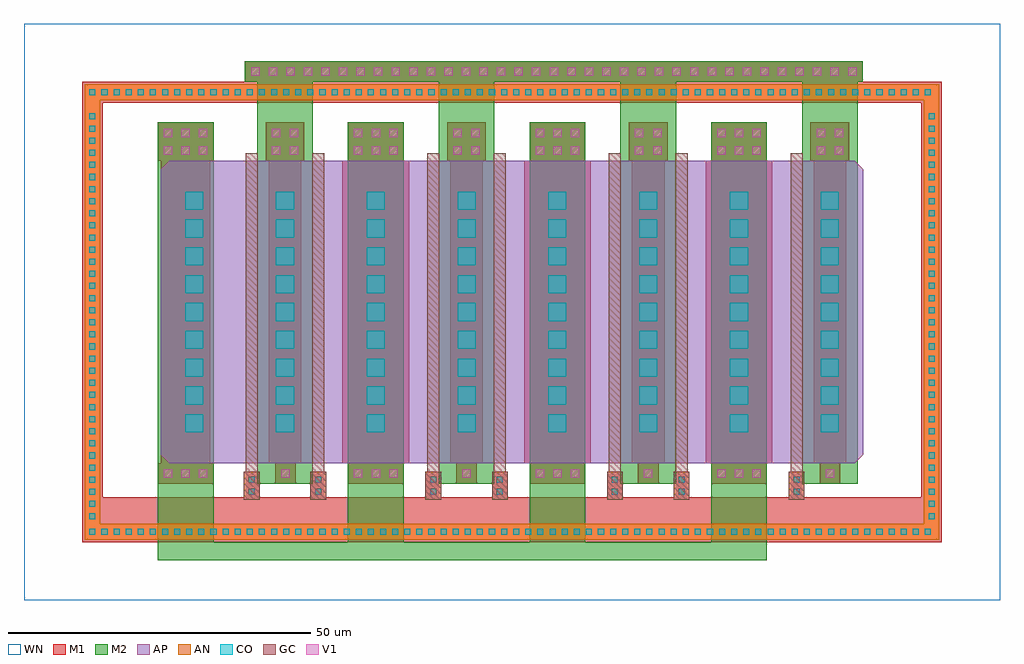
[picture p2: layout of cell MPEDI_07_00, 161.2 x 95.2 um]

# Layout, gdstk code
import gdstk
lib = gdstk.Library(unit=1e-6, precision=1e-09)
def R(c, l, rs):  # rectangles x0, y0, x1, y1
    for r in rs: c.add(gdstk.rectangle(r[:2], r[2:], *l))
def A(c, l, x, y, w, h, nx, ny, dx, dy):  # array of equal rectangles
    R(c, l, [(x+i*dx, y+j*dy, x+i*dx+w, y+j*dy+h) for i in range(nx) for j in range(ny)])
def P(c, l, *ps):  # polygons
    for p in ps: c.add(gdstk.Polygon(p, *l))
AP = (3, 1)
AN = (3, 2)
GC = (8, 1)
CO = (11, 0)
M1 = (13, 0)
V1 = (19, 0)
M2 = (20, 0)
WN = (140, 0)

wlmp_cdns_696587100783 = lib.new_cell('WLMP_CDNS_696587100783')
R(wlmp_cdns_696587100783, WN, [(1.5,1.5,162.7,96.7)])

tc14_cdns_696587100780 = lib.new_cell('TC14_CDNS_696587100780')
R(tc14_cdns_696587100780, M1, [(-51,-1.7,51,1.7)])
A(tc14_cdns_696587100780, V1, -50, -0.7, 1.4, 1.4, 35, 1, 2.9, 0)
R(tc14_cdns_696587100780, M2, [(-51,-1.7,51,1.7)])

sgct_cdns_696587100781 = lib.new_cell('SGCT_CDNS_696587100781')
R(sgct_cdns_696587100781, GC, [(-1.3,-2.3,1.3,2.3)])
R(sgct_cdns_696587100781, CO, [(-0.5,-1.5,0.5,-0.5), (-0.5,0.5,0.5,1.5)])
R(sgct_cdns_696587100781, M1, [(-1.3,-2.3,1.3,2.3)])

tc14_cdns_696587100782 = lib.new_cell('TC14_CDNS_696587100782')
R(tc14_cdns_696587100782, M1, [(-4.6,-1.7,4.6,1.7)])
A(tc14_cdns_696587100782, V1, -3.6, -0.7, 1.4, 1.4, 3, 1, 2.9, 0)
R(tc14_cdns_696587100782, M2, [(-4.6,-1.7,4.6,1.7)])

tc14_cdns_696587100783 = lib.new_cell('TC14_CDNS_696587100783')
R(tc14_cdns_696587100783, M1, [(-4.6,-3.1,4.6,3.2)])
A(tc14_cdns_696587100783, V1, -3.6, -2.1, 1.4, 1.4, 3, 2, 2.9, 2.9)
R(tc14_cdns_696587100783, M2, [(-4.6,-3.1,4.6,3.2)])

tc14_cdns_696587100784 = lib.new_cell('TC14_CDNS_696587100784')
R(tc14_cdns_696587100784, M1, [(-1.7,-3.1,1.7,3.2)])
R(tc14_cdns_696587100784, V1, [(-0.7,-2.1,0.7,-0.7), (-0.7,0.8,0.7,2.2)])
R(tc14_cdns_696587100784, M2, [(-1.7,-3.1,1.7,3.2)])

tc14_cdns_696587100785 = lib.new_cell('TC14_CDNS_696587100785')
R(tc14_cdns_696587100785, M1, [(-1.7,-1.7,1.7,1.7)])
R(tc14_cdns_696587100785, V1, [(-0.7,-0.7,0.7,0.7)])
R(tc14_cdns_696587100785, M2, [(-1.7,-1.7,1.7,1.7)])

mpedi_07_00 = lib.new_cell('MPEDI_07_00')
P(mpedi_07_00, AP, [(25.5,24.1),(24.1,25.5),(24.1,72.7),(25.5,74.1),(138.7,74.1),(140.1,72.7),(140.1,25.5),(138.7,24.1)])
P(mpedi_07_00, AN, [(11.5,11.5),(11.5,84.1),(14.1,84.1),(14.1,14.1),(150.1,14.1),(150.1,84.1),(11.5,84.1),(11.5,86.7),(152.7,86.7),(152.7,11.5)],
  [(11.5,11.5),(11.5,84.1),(14.1,84.1),(14.1,14.1),(150.1,14.1),(150.1,84.1),(11.5,84.1),(11.5,86.7),(152.7,86.7),(152.7,11.5)])
R(mpedi_07_00, GC, [(38.1,22.7,40.1,75.3), (49.1,22.7,51.1,75.3), (68.1,22.7,70.1,75.3), (79.1,22.7,81.1,75.3), (98.1,22.7,100.1,75.3), (109.1,22.7,111.1,75.3), (128.1,22.7,130.1,75.3)])
A(mpedi_07_00, CO, 12.3, 12.3, 1, 1, 70, 2, 2, 72.6)
A(mpedi_07_00, CO, 12.3, 14.9, 1, 1, 1, 34, 0, 2)
A(mpedi_07_00, CO, 150.9, 14.9, 1, 1, 1, 34, 0, 2)
A(mpedi_07_00, CO, 28.1, 29.2, 3, 3, 1, 9, 0, 4.6)
A(mpedi_07_00, CO, 133.1, 29.2, 3, 3, 1, 9, 0, 4.6)
R(mpedi_07_00, CO, [(43.1,29.2,46.1,32.2), (43.1,29.2,46.1,32.2), (58.1,29.2,61.1,32.2), (58.1,29.2,61.1,32.2), (73.1,29.2,76.1,32.2), (73.1,29.2,76.1,32.2), (88.1,29.2,91.1,32.2), (88.1,29.2,91.1,32.2), (103.1,29.2,106.1,32.2), (103.1,29.2,106.1,32.2), (118.1,29.2,121.1,32.2), (118.1,29.2,121.1,32.2), (43.1,33.8,46.1,36.8), (43.1,33.8,46.1,36.8), (58.1,33.8,61.1,36.8), (58.1,33.8,61.1,36.8), (73.1,33.8,76.1,36.8), (73.1,33.8,76.1,36.8), (88.1,33.8,91.1,36.8), (88.1,33.8,91.1,36.8), (103.1,33.8,106.1,36.8), (103.1,33.8,106.1,36.8), (118.1,33.8,121.1,36.8), (118.1,33.8,121.1,36.8), (43.1,38.4,46.1,41.4), (43.1,38.4,46.1,41.4), (58.1,38.4,61.1,41.4), (58.1,38.4,61.1,41.4), (73.1,38.4,76.1,41.4), (73.1,38.4,76.1,41.4), (88.1,38.4,91.1,41.4), (88.1,38.4,91.1,41.4), (103.1,38.4,106.1,41.4), (103.1,38.4,106.1,41.4), (118.1,38.4,121.1,41.4), (118.1,38.4,121.1,41.4), (43.1,43,46.1,46), (43.1,43,46.1,46), (58.1,43,61.1,46), (58.1,43,61.1,46), (73.1,43,76.1,46), (73.1,43,76.1,46), (88.1,43,91.1,46), (88.1,43,91.1,46), (103.1,43,106.1,46), (103.1,43,106.1,46), (118.1,43,121.1,46), (118.1,43,121.1,46), (43.1,47.6,46.1,50.6), (43.1,47.6,46.1,50.6), (58.1,47.6,61.1,50.6), (58.1,47.6,61.1,50.6), (73.1,47.6,76.1,50.6), (73.1,47.6,76.1,50.6), (88.1,47.6,91.1,50.6), (88.1,47.6,91.1,50.6), (103.1,47.6,106.1,50.6), (103.1,47.6,106.1,50.6), (118.1,47.6,121.1,50.6), (118.1,47.6,121.1,50.6), (43.1,52.2,46.1,55.2), (43.1,52.2,46.1,55.2), (58.1,52.2,61.1,55.2), (58.1,52.2,61.1,55.2), (73.1,52.2,76.1,55.2), (73.1,52.2,76.1,55.2), (88.1,52.2,91.1,55.2), (88.1,52.2,91.1,55.2), (103.1,52.2,106.1,55.2), (103.1,52.2,106.1,55.2), (118.1,52.2,121.1,55.2), (118.1,52.2,121.1,55.2), (43.1,56.8,46.1,59.8), (43.1,56.8,46.1,59.8), (58.1,56.8,61.1,59.8), (58.1,56.8,61.1,59.8), (73.1,56.8,76.1,59.8), (73.1,56.8,76.1,59.8), (88.1,56.8,91.1,59.8), (88.1,56.8,91.1,59.8), (103.1,56.8,106.1,59.8), (103.1,56.8,106.1,59.8), (118.1,56.8,121.1,59.8), (118.1,56.8,121.1,59.8), (43.1,61.4,46.1,64.4), (43.1,61.4,46.1,64.4), (58.1,61.4,61.1,64.4), (58.1,61.4,61.1,64.4), (73.1,61.4,76.1,64.4), (73.1,61.4,76.1,64.4), (88.1,61.4,91.1,64.4), (88.1,61.4,91.1,64.4), (103.1,61.4,106.1,64.4), (103.1,61.4,106.1,64.4), (118.1,61.4,121.1,64.4), (118.1,61.4,121.1,64.4), (43.1,66,46.1,69), (43.1,66,46.1,69), (58.1,66,61.1,69), (58.1,66,61.1,69), (73.1,66,76.1,69), (73.1,66,76.1,69), (88.1,66,91.1,69), (88.1,66,91.1,69), (103.1,66,106.1,69), (103.1,66,106.1,69), (118.1,66,121.1,69), (118.1,66,121.1,69)])
R(mpedi_07_00, M1, [(11.5,11.5,152.7,14.1), (11.5,14.1,14.1,84.1), (14.1,14.1,150.1,18.5), (150.1,14.1,152.7,84.1), (24.1,24.1,32.3,74.1), (41.9,24.1,47.3,74.1), (41.9,24.1,47.3,74.1), (54.1,24.1,62.3,74.1), (56.9,24.1,65.1,74.1), (71.9,24.1,77.3,74.1), (71.9,24.1,77.3,74.1), (84.1,24.1,92.3,74.1), (86.9,24.1,95.1,74.1), (101.9,24.1,107.3,74.1), (101.9,24.1,107.3,74.1), (114.1,24.1,122.3,74.1), (116.9,24.1,125.1,74.1), (131.9,24.1,137.3,74.1), (11.5,84.1,152.7,86.7)])
A(mpedi_07_00, M2, 55, 8.1, 9.2, 72.3, 3, 1, 30, 0)
A(mpedi_07_00, M2, 40, 20.7, 9.2, 69.8, 4, 1, 30, 0)
R(mpedi_07_00, M2, [(23.6,8.1,32.8,80.4), (23.6,8.1,25,9.5), (38,89.1,39.4,90.5)])
mpedi_07_00.add(gdstk.FlexPath([(11.1,12.8),(153.1,12.8)], 3.4, ends="flush", simple_path=True, layer=13, datatype=0))  # M1
mpedi_07_00.add(gdstk.FlexPath([(11.1,85.4),(153.1,85.4)], 3.4, ends="flush", simple_path=True, layer=13, datatype=0))  # M1
mpedi_07_00.add(gdstk.FlexPath([(12.8,11.1),(12.8,87.1)], 3.4, ends="flush", simple_path=True, layer=13, datatype=0))  # M1
mpedi_07_00.add(gdstk.FlexPath([(151.4,11.1),(151.4,87.1)], 3.4, ends="flush", simple_path=True, layer=13, datatype=0))  # M1
mpedi_07_00.add(gdstk.FlexPath([(124.2,9.6),(23.6,9.6)], 3, ends="flush", simple_path=True, layer=20, datatype=0))  # M2
mpedi_07_00.add(gdstk.Reference(wlmp_cdns_696587100783, (0,0)))
mpedi_07_00.add(gdstk.Reference(tc14_cdns_696587100780, (89,88.8)))
mpedi_07_00.add(gdstk.Reference(sgct_cdns_696587100781, (129.1,20.4)))
mpedi_07_00.add(gdstk.Reference(sgct_cdns_696587100781, (110.1,20.4)))
mpedi_07_00.add(gdstk.Reference(sgct_cdns_696587100781, (99.1,20.4)))
mpedi_07_00.add(gdstk.Reference(sgct_cdns_696587100781, (80.1,20.4)))
mpedi_07_00.add(gdstk.Reference(sgct_cdns_696587100781, (69.1,20.4)))
mpedi_07_00.add(gdstk.Reference(sgct_cdns_696587100781, (50.1,20.4)))
mpedi_07_00.add(gdstk.Reference(sgct_cdns_696587100781, (39.1,20.4)))
mpedi_07_00.add(gdstk.Reference(tc14_cdns_696587100782, (119.6,22.4)))
mpedi_07_00.add(gdstk.Reference(tc14_cdns_696587100782, (89.6,22.4)))
mpedi_07_00.add(gdstk.Reference(tc14_cdns_696587100782, (59.6,22.4)))
mpedi_07_00.add(gdstk.Reference(tc14_cdns_696587100782, (28.2,22.4)))
mpedi_07_00.add(gdstk.Reference(tc14_cdns_696587100783, (119.6,77.2)))
mpedi_07_00.add(gdstk.Reference(tc14_cdns_696587100783, (89.6,77.2)))
mpedi_07_00.add(gdstk.Reference(tc14_cdns_696587100783, (59.6,77.2)))
mpedi_07_00.add(gdstk.Reference(tc14_cdns_696587100783, (28.2,77.2)))
mpedi_07_00.add(gdstk.Reference(tc14_cdns_696587100784, (136.1,77.2)))
mpedi_07_00.add(gdstk.Reference(tc14_cdns_696587100784, (133.1,77.2)))
mpedi_07_00.add(gdstk.Reference(tc14_cdns_696587100784, (106.1,77.2)))
mpedi_07_00.add(gdstk.Reference(tc14_cdns_696587100784, (103.1,77.2)))
mpedi_07_00.add(gdstk.Reference(tc14_cdns_696587100784, (76.1,77.2)))
mpedi_07_00.add(gdstk.Reference(tc14_cdns_696587100784, (73.1,77.2)))
mpedi_07_00.add(gdstk.Reference(tc14_cdns_696587100784, (46.1,77.2)))
mpedi_07_00.add(gdstk.Reference(tc14_cdns_696587100784, (43.1,77.2)))
mpedi_07_00.add(gdstk.Reference(tc14_cdns_696587100785, (134.6,22.4)))
mpedi_07_00.add(gdstk.Reference(tc14_cdns_696587100785, (104.6,22.4)))
mpedi_07_00.add(gdstk.Reference(tc14_cdns_696587100785, (74.6,22.4)))
mpedi_07_00.add(gdstk.Reference(tc14_cdns_696587100785, (44.7,22.4)))

lib.write_gds('MPEDI_07_00.gds')
